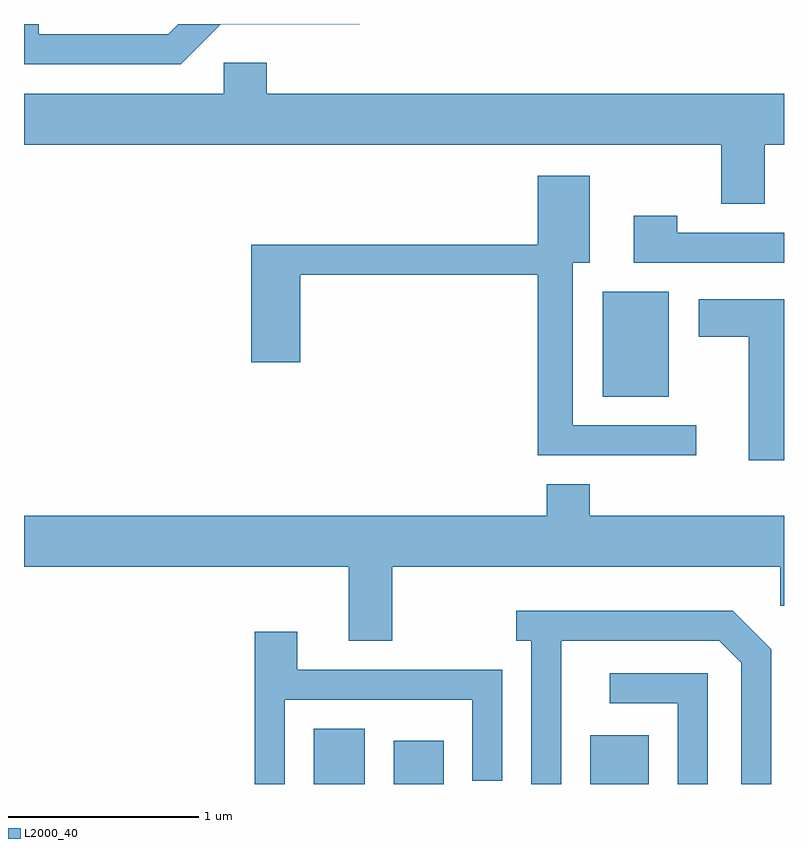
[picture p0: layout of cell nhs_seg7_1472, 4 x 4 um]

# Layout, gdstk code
import gdstk
lib = gdstk.Library(unit=1e-6, precision=1e-09)
def R(c, l, rs):  # rectangles x0, y0, x1, y1
    for r in rs: c.add(gdstk.rectangle(r[:2], r[2:], *l))
def P(c, l, *ps):  # polygons
    for p in ps: c.add(gdstk.Polygon(p, *l))
L2000_40 = (2000, 40)

nhs_seg7_1472 = lib.new_cell('nhs_seg7_1472')
R(nhs_seg7_1472, L2000_40, [(231.136,1744.252,231.404,1744.544), (231.556,1744.252,231.819,1744.479), (232.591,1744.252,232.899,1744.509), (232.656,1746.291,233.004,1746.844)])
P(nhs_seg7_1472, L2000_40, [(230.647,1748.251),(231.379,1748.251),(231.379,1748.252),(230.422,1748.252),(230.369,1748.199),(229.689,1748.199),(229.689,1748.252),(229.611,1748.252),(229.611,1748.041),(230.437,1748.041)],
  [(233.509,1747.616),(233.611,1747.616),(233.611,1747.884),(230.889,1747.884),(230.889,1748.049),(230.661,1748.049),(230.661,1747.884),(229.611,1747.884),(229.611,1747.616),(233.281,1747.616),(233.281,1747.306),(233.509,1747.306)],
  [(233.148,1746.139),(232.499,1746.139),(232.499,1746.996),(232.589,1746.996),(232.589,1747.454),(232.316,1747.454),(232.316,1747.089),(230.806,1747.089),(230.806,1746.471),(231.064,1746.471),(231.064,1746.931),(232.316,1746.931),(232.316,1745.981),(233.148,1745.981)],
  [(233.611,1747.154),(233.049,1747.154),(233.049,1747.244),(232.821,1747.244),(232.821,1746.996),(233.611,1746.996)],
  [(233.611,1746.804),(233.161,1746.804),(233.161,1746.606),(233.426,1746.606),(233.426,1745.956),(233.611,1745.956)],
  [(231.549,1745.396),(233.591,1745.396),(233.591,1745.191),(233.611,1745.191),(233.611,1745.664),(232.589,1745.664),(232.589,1745.829),(232.361,1745.829),(232.361,1745.664),(229.611,1745.664),(229.611,1745.396),(231.321,1745.396),(231.321,1745.006),(231.549,1745.006)],
  [(232.439,1745.006),(233.269,1745.006),(233.386,1744.889),(233.386,1744.252),(233.544,1744.252),(233.544,1744.962),(233.342,1745.164),(232.203,1745.164),(232.203,1745.006),(232.281,1745.006),(232.281,1744.252),(232.439,1744.252)],
  [(230.984,1744.696),(231.971,1744.696),(231.971,1744.268),(232.129,1744.268),(232.129,1744.854),(231.049,1744.854),(231.049,1745.054),(230.826,1745.054),(230.826,1744.252),(230.984,1744.252)],
  [(233.209,1744.834),(232.693,1744.834),(232.693,1744.676),(233.051,1744.676),(233.051,1744.252),(233.209,1744.252)])

lib.write_gds('nhs_seg7_1472.gds')
